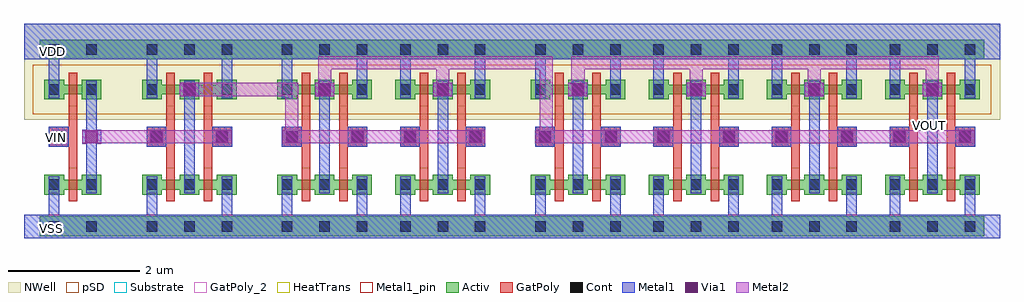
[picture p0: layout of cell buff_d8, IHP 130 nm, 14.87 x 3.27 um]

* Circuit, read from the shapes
.subckt buff_d8 VDD VIN VOUT VSS
XM1 inv_d2_1/VIN VIN VSS VSS sg13_lv_nmos w=0.15u l=0.13u
XM2 inv_d4_2/VIN inv_d2_1/VIN VSS VSS sg13_lv_nmos w=0.15u l=0.13u m=2
XM3 inv_d8_3/VIN inv_d4_2/VIN VSS VSS sg13_lv_nmos w=0.15u l=0.13u m=4
XM4 VOUT inv_d8_3/VIN VSS VSS sg13_lv_nmos w=0.15u l=0.13u m=8
XM5 inv_d2_1/VIN VIN VDD VDD sg13_lv_pmos w=0.15u l=0.13u
XM6 inv_d4_2/VIN inv_d2_1/VIN VDD VDD sg13_lv_pmos w=0.15u l=0.13u m=2
XM7 inv_d8_3/VIN inv_d4_2/VIN VDD VDD sg13_lv_pmos w=0.15u l=0.13u m=4
XM8 VOUT inv_d8_3/VIN VDD VDD sg13_lv_pmos w=0.15u l=0.13u m=8
.ends

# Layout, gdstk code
from math import pi, radians
import gdstk
lib = gdstk.Library(unit=1e-6, precision=5e-09)
def R(c, l, rs):  # rectangles x0, y0, x1, y1
    for r in rs: c.add(gdstk.rectangle(r[:2], r[2:], *l))
Activ = (1, 0)
GatPoly = (5, 0)
GatPoly_2 = (5, 2)
Cont = (6, 0)
Metal1 = (8, 0)
Metal1_pin = (8, 2)
Metal2 = (10, 0)
pSD = (14, 0)
Via1 = (19, 0)
NWell = (31, 0)
Substrate = (40, 0)
HeatTrans = (51, 0)

pmos_1_1_1_1_5 = lib.new_cell('pmos$1$1$1$1$5')
R(pmos_1_1_1_1_5, Activ, [(0,0,0.3,0.3), (0.57,0,0.87,0.3), (0,0.075,0.87,0.225)])
R(pmos_1_1_1_1_5, GatPoly, [(0.37,-0.105,0.5,0.405), (0.37,-0.105,0.5,0.405)])
R(pmos_1_1_1_1_5, Cont, [(0.07,0.07,0.23,0.23), (0.64,0.07,0.8,0.23)])
R(pmos_1_1_1_1_5, Metal1, [(0.07,0.02,0.23,0.28), (0.07,0.02,0.23,0.28), (0.64,0.02,0.8,0.28), (0.64,0.02,0.8,0.28)])
R(pmos_1_1_1_1_5, pSD, [(-0.18,-0.225,1.05,0.525)])
R(pmos_1_1_1_1_5, NWell, [(-0.31,-0.31,1.18,0.61)])
R(pmos_1_1_1_1_5, Substrate, [(0.57,0,0.87,0.3)])
R(pmos_1_1_1_1_5, HeatTrans, [(0.37,-0.105,0.5,0.405)])
pmos_1_1_1_1_5.add(gdstk.Label('pmos', (0.435,0.15), layer=63, texttype=0))
pmos_1_1_1_1_5.add(gdstk.Label('pmos', (0.435,0.15), layer=51, texttype=0))

nmos_1_9_1 = lib.new_cell('nmos$1$9$1')
R(nmos_1_9_1, Activ, [(0,0,0.3,0.3), (0.57,0,0.87,0.3), (0,0.075,0.87,0.225)])
R(nmos_1_9_1, GatPoly, [(0.37,-0.105,0.5,0.405)])
R(nmos_1_9_1, GatPoly_2, [(0.37,-0.105,0.5,0.405)])
R(nmos_1_9_1, Cont, [(0.07,0.07,0.23,0.23), (0.64,0.07,0.8,0.23)])
R(nmos_1_9_1, Metal1, [(0.07,0.02,0.23,0.28), (0.64,0.02,0.8,0.28)])
R(nmos_1_9_1, Metal1_pin, [(0.07,0.02,0.23,0.28), (0.64,0.02,0.8,0.28)])
R(nmos_1_9_1, HeatTrans, [(0.37,-0.105,0.5,0.405)])
nmos_1_9_1.add(gdstk.Label('nmos', (0.435,0.15), layer=63, texttype=0))
nmos_1_9_1.add(gdstk.Label('nmos', (0.435,0.15), layer=51, texttype=0))

inv_2 = lib.new_cell('inv$2')
R(inv_2, Activ, [(0.48,-0.04,1.49,0.26), (0.48,-0.04,1.49,0.26), (0.48,-0.04,1.49,0.26), (0.48,-0.04,1.49,0.26), (0.48,-0.04,1.49,0.26), (0.48,-0.04,1.49,0.26), (0.48,-0.04,1.49,0.26), (0.48,-0.04,1.49,0.26), (0.48,-0.04,1.49,0.26), (0.48,-0.04,1.49,0.26), (0.48,-0.04,1.49,0.26), (0.48,-0.04,1.49,0.26), (0.48,-0.04,1.49,0.26), (0.48,-0.04,1.49,0.26), (0.48,-0.04,1.49,0.26), (0.48,-0.04,1.49,0.26), (0.48,-0.04,1.49,0.26), (0.48,-0.04,1.49,0.26), (0.48,-0.04,1.49,0.26), (0.48,-0.04,1.49,0.26), (0.48,-0.04,1.49,0.26), (0.48,-0.04,1.49,0.26), (0.48,-0.04,1.49,0.26), (0.48,-0.04,1.49,0.26), (0.48,-0.04,1.49,0.26), (0.48,-0.04,1.49,0.26), (0.48,-0.04,1.49,0.26), (0.48,-0.04,1.49,0.26), (0.48,2.655,1.49,2.955), (0.48,2.655,1.49,2.955), (0.48,2.655,1.49,2.955), (0.48,2.655,1.49,2.955), (0.48,2.655,1.49,2.955), (0.48,2.655,1.49,2.955), (0.48,2.655,1.49,2.955), (0.48,2.655,1.49,2.955), (0.48,2.655,1.49,2.955), (0.48,2.655,1.49,2.955), (0.48,2.655,1.49,2.955), (0.48,2.655,1.49,2.955), (0.48,2.655,1.49,2.955), (0.48,2.655,1.49,2.955), (0.48,2.655,1.49,2.955), (0.48,2.655,1.49,2.955), (0.48,2.655,1.49,2.955), (0.48,2.655,1.49,2.955), (0.48,2.655,1.49,2.955), (0.48,2.655,1.49,2.955), (0.48,2.655,1.49,2.955), (0.48,2.655,1.49,2.955), (0.48,2.655,1.49,2.955), (0.48,2.655,1.49,2.955), (0.48,2.655,1.49,2.955), (0.48,2.655,1.49,2.955), (0.48,2.655,1.49,2.955), (0.48,2.655,1.49,2.955)])
R(inv_2, GatPoly, [(0.92,0.76,1.05,2.45), (0.92,0.76,1.05,2.45), (0.92,0.76,1.05,2.45), (0.92,0.76,1.05,2.45), (0.92,0.76,1.05,2.45), (0.92,0.76,1.05,2.45), (0.92,0.76,1.05,2.45), (0.92,0.76,1.05,2.45), (0.92,0.76,1.05,2.45), (0.92,0.76,1.05,2.45), (0.92,0.76,1.05,2.45), (0.92,0.76,1.05,2.45), (0.92,0.76,1.05,2.45), (0.92,0.76,1.05,2.45), (0.92,0.76,1.05,2.45), (0.92,0.76,1.05,2.45), (0.92,0.76,1.05,2.45), (0.92,0.76,1.05,2.45), (0.92,0.76,1.05,2.45), (0.92,0.76,1.05,2.45), (0.92,0.76,1.05,2.45), (0.92,0.76,1.05,2.45), (0.92,0.76,1.05,2.45), (0.92,0.76,1.05,2.45), (0.92,0.76,1.05,2.45), (0.92,0.76,1.05,2.45), (0.92,0.76,1.05,2.45), (0.92,0.76,1.05,2.45), (0.62,1.325,0.92,1.625), (0.62,1.325,0.92,1.625), (0.62,1.325,0.92,1.625), (0.62,1.325,0.92,1.625), (0.62,1.325,0.92,1.625), (0.62,1.325,0.92,1.625), (0.62,1.325,0.92,1.625), (0.62,1.325,0.92,1.625), (0.62,1.325,0.92,1.625), (0.62,1.325,0.92,1.625), (0.62,1.325,0.92,1.625), (0.62,1.325,0.92,1.625), (0.62,1.325,0.92,1.625), (0.62,1.325,0.92,1.625), (0.62,1.325,0.92,1.625), (0.62,1.325,0.92,1.625), (0.62,1.325,0.92,1.625), (0.62,1.325,0.92,1.625), (0.62,1.325,0.92,1.625), (0.62,1.325,0.92,1.625), (0.62,1.325,0.92,1.625), (0.62,1.325,0.92,1.625), (0.62,1.325,0.92,1.625), (0.62,1.325,0.92,1.625), (0.62,1.325,0.92,1.625), (0.62,1.325,0.92,1.625), (0.62,1.325,0.92,1.625), (0.62,1.325,0.92,1.625)])
R(inv_2, Cont, [(0.62,0.03,0.78,0.19), (0.62,0.03,0.78,0.19), (0.62,0.03,0.78,0.19), (0.62,0.03,0.78,0.19), (0.62,0.03,0.78,0.19), (0.62,0.03,0.78,0.19), (0.62,0.03,0.78,0.19), (0.62,0.03,0.78,0.19), (0.62,0.03,0.78,0.19), (0.62,0.03,0.78,0.19), (0.62,0.03,0.78,0.19), (0.62,0.03,0.78,0.19), (0.62,0.03,0.78,0.19), (0.62,0.03,0.78,0.19), (0.62,0.03,0.78,0.19), (0.62,0.03,0.78,0.19), (0.62,0.03,0.78,0.19), (0.62,0.03,0.78,0.19), (0.62,0.03,0.78,0.19), (0.62,0.03,0.78,0.19), (0.62,0.03,0.78,0.19), (0.62,0.03,0.78,0.19), (0.62,0.03,0.78,0.19), (0.62,0.03,0.78,0.19), (0.62,0.03,0.78,0.19), (0.62,0.03,0.78,0.19), (0.62,0.03,0.78,0.19), (0.62,0.03,0.78,0.19), (1.19,0.03,1.35,0.19), (1.19,0.03,1.35,0.19), (1.19,0.03,1.35,0.19), (1.19,0.03,1.35,0.19), (1.19,0.03,1.35,0.19), (1.19,0.03,1.35,0.19), (1.19,0.03,1.35,0.19), (1.19,0.03,1.35,0.19), (1.19,0.03,1.35,0.19), (1.19,0.03,1.35,0.19), (1.19,0.03,1.35,0.19), (1.19,0.03,1.35,0.19), (1.19,0.03,1.35,0.19), (1.19,0.03,1.35,0.19), (1.19,0.03,1.35,0.19), (1.19,0.03,1.35,0.19), (1.19,0.03,1.35,0.19), (1.19,0.03,1.35,0.19), (1.19,0.03,1.35,0.19), (1.19,0.03,1.35,0.19), (1.19,0.03,1.35,0.19), (1.19,0.03,1.35,0.19), (1.19,0.03,1.35,0.19), (1.19,0.03,1.35,0.19), (1.19,0.03,1.35,0.19), (1.19,0.03,1.35,0.19), (1.19,0.03,1.35,0.19), (1.19,0.03,1.35,0.19), (0.69,1.395,0.85,1.555), (0.69,1.395,0.85,1.555), (0.69,1.395,0.85,1.555), (0.69,1.395,0.85,1.555), (0.69,1.395,0.85,1.555), (0.69,1.395,0.85,1.555), (0.69,1.395,0.85,1.555), (0.69,1.395,0.85,1.555), (0.69,1.395,0.85,1.555), (0.69,1.395,0.85,1.555), (0.69,1.395,0.85,1.555), (0.69,1.395,0.85,1.555), (0.69,1.395,0.85,1.555), (0.69,1.395,0.85,1.555), (0.69,1.395,0.85,1.555), (0.69,1.395,0.85,1.555), (0.69,1.395,0.85,1.555), (0.69,1.395,0.85,1.555), (0.69,1.395,0.85,1.555), (0.69,1.395,0.85,1.555), (0.69,1.395,0.85,1.555), (0.69,1.395,0.85,1.555), (0.69,1.395,0.85,1.555), (0.69,1.395,0.85,1.555), (0.69,1.395,0.85,1.555), (0.69,1.395,0.85,1.555), (0.69,1.395,0.85,1.555), (0.69,1.395,0.85,1.555), (0.62,2.725,0.78,2.885), (0.62,2.725,0.78,2.885), (0.62,2.725,0.78,2.885), (0.62,2.725,0.78,2.885), (0.62,2.725,0.78,2.885), (0.62,2.725,0.78,2.885), (0.62,2.725,0.78,2.885), (0.62,2.725,0.78,2.885), (0.62,2.725,0.78,2.885), (0.62,2.725,0.78,2.885), (0.62,2.725,0.78,2.885), (0.62,2.725,0.78,2.885), (0.62,2.725,0.78,2.885), (0.62,2.725,0.78,2.885), (0.62,2.725,0.78,2.885), (0.62,2.725,0.78,2.885), (0.62,2.725,0.78,2.885), (0.62,2.725,0.78,2.885), (0.62,2.725,0.78,2.885), (0.62,2.725,0.78,2.885), (0.62,2.725,0.78,2.885), (0.62,2.725,0.78,2.885), (0.62,2.725,0.78,2.885), (0.62,2.725,0.78,2.885), (0.62,2.725,0.78,2.885), (0.62,2.725,0.78,2.885), (0.62,2.725,0.78,2.885), (0.62,2.725,0.78,2.885), (1.19,2.725,1.35,2.885), (1.19,2.725,1.35,2.885), (1.19,2.725,1.35,2.885), (1.19,2.725,1.35,2.885), (1.19,2.725,1.35,2.885), (1.19,2.725,1.35,2.885), (1.19,2.725,1.35,2.885), (1.19,2.725,1.35,2.885), (1.19,2.725,1.35,2.885), (1.19,2.725,1.35,2.885), (1.19,2.725,1.35,2.885), (1.19,2.725,1.35,2.885), (1.19,2.725,1.35,2.885), (1.19,2.725,1.35,2.885), (1.19,2.725,1.35,2.885), (1.19,2.725,1.35,2.885), (1.19,2.725,1.35,2.885), (1.19,2.725,1.35,2.885), (1.19,2.725,1.35,2.885), (1.19,2.725,1.35,2.885), (1.19,2.725,1.35,2.885), (1.19,2.725,1.35,2.885), (1.19,2.725,1.35,2.885), (1.19,2.725,1.35,2.885), (1.19,2.725,1.35,2.885), (1.19,2.725,1.35,2.885), (1.19,2.725,1.35,2.885), (1.19,2.725,1.35,2.885)])
R(inv_2, Metal1, [(0.24,-0.07,1.73,0.29), (0.24,-0.07,1.73,0.29), (0.24,-0.07,1.73,0.29), (0.24,-0.07,1.73,0.29), (0.24,-0.07,1.73,0.29), (0.24,-0.07,1.73,0.29), (0.24,-0.07,1.73,0.29), (0.24,-0.07,1.73,0.29), (0.24,-0.07,1.73,0.29), (0.24,-0.07,1.73,0.29), (0.24,-0.07,1.73,0.29), (0.24,-0.07,1.73,0.29), (0.24,-0.07,1.73,0.29), (0.24,-0.07,1.73,0.29), (0.24,-0.07,1.73,0.29), (0.24,-0.07,1.73,0.29), (0.24,-0.07,1.73,0.29), (0.24,-0.07,1.73,0.29), (0.24,-0.07,1.73,0.29), (0.24,-0.07,1.73,0.29), (0.24,-0.07,1.73,0.29), (0.24,-0.07,1.73,0.29), (0.24,-0.07,1.73,0.29), (0.24,-0.07,1.73,0.29), (0.24,-0.07,1.73,0.29), (0.24,-0.07,1.73,0.29), (0.24,-0.07,1.73,0.29), (0.24,-0.07,1.73,0.29), (0.62,-0.04,0.78,0.875), (0.62,-0.04,0.78,0.875), (0.62,-0.04,0.78,0.875), (0.62,-0.04,0.78,0.875), (0.62,-0.04,0.78,0.875), (0.62,-0.04,0.78,0.875), (0.62,-0.04,0.78,0.875), (0.62,-0.04,0.78,0.875), (0.62,-0.04,0.78,0.875), (0.62,-0.04,0.78,0.875), (0.62,-0.04,0.78,0.875), (0.62,-0.04,0.78,0.875), (0.62,-0.04,0.78,0.875), (0.62,-0.04,0.78,0.875), (0.62,-0.04,0.78,0.875), (0.62,-0.04,0.78,0.875), (0.62,-0.04,0.78,0.875), (0.62,-0.04,0.78,0.875), (0.62,-0.04,0.78,0.875), (0.62,-0.04,0.78,0.875), (0.62,-0.04,0.78,0.875), (0.62,-0.04,0.78,0.875), (0.62,-0.04,0.78,0.875), (0.62,-0.04,0.78,0.875), (0.62,-0.04,0.78,0.875), (0.62,-0.04,0.78,0.875), (0.62,-0.04,0.78,0.875), (0.62,-0.04,0.78,0.875), (1.19,0.615,1.35,2.325), (1.19,0.615,1.35,2.325), (1.19,0.615,1.35,2.325), (1.19,0.615,1.35,2.325), (1.19,0.615,1.35,2.325), (1.19,0.615,1.35,2.325), (1.19,0.615,1.35,2.325), (1.19,0.615,1.35,2.325), (1.19,0.615,1.35,2.325), (1.19,0.615,1.35,2.325), (1.19,0.615,1.35,2.325), (1.19,0.615,1.35,2.325), (1.19,0.615,1.35,2.325), (1.19,0.615,1.35,2.325), (1.19,0.615,1.35,2.325), (1.19,0.615,1.35,2.325), (1.19,0.615,1.35,2.325), (1.19,0.615,1.35,2.325), (1.19,0.615,1.35,2.325), (1.19,0.615,1.35,2.325), (1.19,0.615,1.35,2.325), (1.19,0.615,1.35,2.325), (1.19,0.615,1.35,2.325), (1.19,0.615,1.35,2.325), (1.19,0.615,1.35,2.325), (1.19,0.615,1.35,2.325), (1.19,0.615,1.35,2.325), (1.19,0.615,1.35,2.325), (0.62,1.325,0.92,1.625), (0.62,1.325,0.92,1.625), (0.62,1.325,0.92,1.625), (0.62,1.325,0.92,1.625), (0.62,1.325,0.92,1.625), (0.62,1.325,0.92,1.625), (0.62,1.325,0.92,1.625), (0.62,1.325,0.92,1.625), (0.62,1.325,0.92,1.625), (0.62,1.325,0.92,1.625), (0.62,1.325,0.92,1.625), (0.62,1.325,0.92,1.625), (0.62,1.325,0.92,1.625), (0.62,1.325,0.92,1.625), (0.62,1.325,0.92,1.625), (0.62,1.325,0.92,1.625), (0.62,1.325,0.92,1.625), (0.62,1.325,0.92,1.625), (0.62,1.325,0.92,1.625), (0.62,1.325,0.92,1.625), (0.62,1.325,0.92,1.625), (0.62,1.325,0.92,1.625), (0.62,1.325,0.92,1.625), (0.62,1.325,0.92,1.625), (0.62,1.325,0.92,1.625), (0.62,1.325,0.92,1.625), (0.62,1.325,0.92,1.625), (0.62,1.325,0.92,1.625), (0.62,2.065,0.78,2.955), (0.62,2.065,0.78,2.955), (0.62,2.065,0.78,2.955), (0.62,2.065,0.78,2.955), (0.62,2.065,0.78,2.955), (0.62,2.065,0.78,2.955), (0.62,2.065,0.78,2.955), (0.62,2.065,0.78,2.955), (0.62,2.065,0.78,2.955), (0.62,2.065,0.78,2.955), (0.62,2.065,0.78,2.955), (0.62,2.065,0.78,2.955), (0.62,2.065,0.78,2.955), (0.62,2.065,0.78,2.955), (0.62,2.065,0.78,2.955), (0.62,2.065,0.78,2.955), (0.62,2.065,0.78,2.955), (0.62,2.065,0.78,2.955), (0.62,2.065,0.78,2.955), (0.62,2.065,0.78,2.955), (0.62,2.065,0.78,2.955), (0.62,2.065,0.78,2.955), (0.62,2.065,0.78,2.955), (0.62,2.065,0.78,2.955), (0.62,2.065,0.78,2.955), (0.62,2.065,0.78,2.955), (0.62,2.065,0.78,2.955), (0.62,2.065,0.78,2.955), (0.24,2.655,1.73,3.195), (0.24,2.655,1.73,3.195), (0.24,2.655,1.73,3.195), (0.24,2.655,1.73,3.195), (0.24,2.655,1.73,3.195), (0.24,2.655,1.73,3.195), (0.24,2.655,1.73,3.195), (0.24,2.655,1.73,3.195), (0.24,2.655,1.73,3.195), (0.24,2.655,1.73,3.195), (0.24,2.655,1.73,3.195), (0.24,2.655,1.73,3.195), (0.24,2.655,1.73,3.195), (0.24,2.655,1.73,3.195), (0.24,2.655,1.73,3.195), (0.24,2.655,1.73,3.195), (0.24,2.655,1.73,3.195), (0.24,2.655,1.73,3.195), (0.24,2.655,1.73,3.195), (0.24,2.655,1.73,3.195), (0.24,2.655,1.73,3.195), (0.24,2.655,1.73,3.195), (0.24,2.655,1.73,3.195), (0.24,2.655,1.73,3.195), (0.24,2.655,1.73,3.195), (0.24,2.655,1.73,3.195), (0.24,2.655,1.73,3.195), (0.24,2.655,1.73,3.195)])
R(inv_2, Metal1_pin, [(0.24,-0.07,1.73,0.29), (0.24,-0.07,1.73,0.29), (0.24,-0.07,1.73,0.29), (0.24,-0.07,1.73,0.29), (0.24,-0.07,1.73,0.29), (0.24,-0.07,1.73,0.29), (0.24,-0.07,1.73,0.29), (0.24,-0.07,1.73,0.29), (0.24,-0.07,1.73,0.29), (0.24,-0.07,1.73,0.29), (0.24,-0.07,1.73,0.29), (0.24,-0.07,1.73,0.29), (0.24,-0.07,1.73,0.29), (0.24,-0.07,1.73,0.29), (0.24,-0.07,1.73,0.29), (0.24,-0.07,1.73,0.29), (0.24,-0.07,1.73,0.29), (0.24,-0.07,1.73,0.29), (0.24,-0.07,1.73,0.29), (0.24,-0.07,1.73,0.29), (0.24,-0.07,1.73,0.29), (0.24,-0.07,1.73,0.29), (0.24,-0.07,1.73,0.29), (0.24,-0.07,1.73,0.29), (0.24,-0.07,1.73,0.29), (0.24,-0.07,1.73,0.29), (0.24,-0.07,1.73,0.29), (0.24,-0.07,1.73,0.29), (1.19,0.615,1.35,2.325), (1.19,0.615,1.35,2.325), (1.19,0.615,1.35,2.325), (1.19,0.615,1.35,2.325), (1.19,0.615,1.35,2.325), (1.19,0.615,1.35,2.325), (1.19,0.615,1.35,2.325), (1.19,0.615,1.35,2.325), (1.19,0.615,1.35,2.325), (1.19,0.615,1.35,2.325), (1.19,0.615,1.35,2.325), (1.19,0.615,1.35,2.325), (1.19,0.615,1.35,2.325), (1.19,0.615,1.35,2.325), (1.19,0.615,1.35,2.325), (1.19,0.615,1.35,2.325), (1.19,0.615,1.35,2.325), (1.19,0.615,1.35,2.325), (1.19,0.615,1.35,2.325), (1.19,0.615,1.35,2.325), (1.19,0.615,1.35,2.325), (1.19,0.615,1.35,2.325), (1.19,0.615,1.35,2.325), (1.19,0.615,1.35,2.325), (1.19,0.615,1.35,2.325), (1.19,0.615,1.35,2.325), (1.19,0.615,1.35,2.325), (1.19,0.615,1.35,2.325), (0.62,1.325,0.92,1.625), (0.62,1.325,0.92,1.625), (0.62,1.325,0.92,1.625), (0.62,1.325,0.92,1.625), (0.62,1.325,0.92,1.625), (0.62,1.325,0.92,1.625), (0.62,1.325,0.92,1.625), (0.62,1.325,0.92,1.625), (0.62,1.325,0.92,1.625), (0.62,1.325,0.92,1.625), (0.62,1.325,0.92,1.625), (0.62,1.325,0.92,1.625), (0.62,1.325,0.92,1.625), (0.62,1.325,0.92,1.625), (0.62,1.325,0.92,1.625), (0.62,1.325,0.92,1.625), (0.62,1.325,0.92,1.625), (0.62,1.325,0.92,1.625), (0.62,1.325,0.92,1.625), (0.62,1.325,0.92,1.625), (0.62,1.325,0.92,1.625), (0.62,1.325,0.92,1.625), (0.62,1.325,0.92,1.625), (0.62,1.325,0.92,1.625), (0.62,1.325,0.92,1.625), (0.62,1.325,0.92,1.625), (0.62,1.325,0.92,1.625), (0.62,1.325,0.92,1.625), (0.24,2.655,1.73,3.195), (0.24,2.655,1.73,3.195), (0.24,2.655,1.73,3.195), (0.24,2.655,1.73,3.195), (0.24,2.655,1.73,3.195), (0.24,2.655,1.73,3.195), (0.24,2.655,1.73,3.195), (0.24,2.655,1.73,3.195), (0.24,2.655,1.73,3.195), (0.24,2.655,1.73,3.195), (0.24,2.655,1.73,3.195), (0.24,2.655,1.73,3.195), (0.24,2.655,1.73,3.195), (0.24,2.655,1.73,3.195), (0.24,2.655,1.73,3.195), (0.24,2.655,1.73,3.195), (0.24,2.655,1.73,3.195), (0.24,2.655,1.73,3.195), (0.24,2.655,1.73,3.195), (0.24,2.655,1.73,3.195), (0.24,2.655,1.73,3.195), (0.24,2.655,1.73,3.195), (0.24,2.655,1.73,3.195), (0.24,2.655,1.73,3.195), (0.24,2.655,1.73,3.195), (0.24,2.655,1.73,3.195), (0.24,2.655,1.73,3.195), (0.24,2.655,1.73,3.195)])
R(inv_2, pSD, [(0.24,-0.07,1.73,0.29), (0.24,-0.07,1.73,0.29), (0.24,-0.07,1.73,0.29), (0.24,-0.07,1.73,0.29), (0.24,-0.07,1.73,0.29), (0.24,-0.07,1.73,0.29), (0.24,-0.07,1.73,0.29), (0.24,-0.07,1.73,0.29), (0.24,-0.07,1.73,0.29), (0.24,-0.07,1.73,0.29), (0.24,-0.07,1.73,0.29), (0.24,-0.07,1.73,0.29), (0.24,-0.07,1.73,0.29), (0.24,-0.07,1.73,0.29), (0.24,-0.07,1.73,0.29), (0.24,-0.07,1.73,0.29), (0.24,-0.07,1.73,0.29), (0.24,-0.07,1.73,0.29), (0.24,-0.07,1.73,0.29), (0.24,-0.07,1.73,0.29), (0.24,-0.07,1.73,0.29), (0.24,-0.07,1.73,0.29), (0.24,-0.07,1.73,0.29), (0.24,-0.07,1.73,0.29), (0.24,-0.07,1.73,0.29), (0.24,-0.07,1.73,0.29), (0.24,-0.07,1.73,0.29), (0.24,-0.07,1.73,0.29)])
R(inv_2, NWell, [(0.24,2.655,1.73,3.195), (0.24,2.655,1.73,3.195), (0.24,2.655,1.73,3.195), (0.24,2.655,1.73,3.195), (0.24,2.655,1.73,3.195), (0.24,2.655,1.73,3.195), (0.24,2.655,1.73,3.195), (0.24,2.655,1.73,3.195), (0.24,2.655,1.73,3.195), (0.24,2.655,1.73,3.195), (0.24,2.655,1.73,3.195), (0.24,2.655,1.73,3.195), (0.24,2.655,1.73,3.195), (0.24,2.655,1.73,3.195), (0.24,2.655,1.73,3.195), (0.24,2.655,1.73,3.195), (0.24,2.655,1.73,3.195), (0.24,2.655,1.73,3.195), (0.24,2.655,1.73,3.195), (0.24,2.655,1.73,3.195), (0.24,2.655,1.73,3.195), (0.24,2.655,1.73,3.195), (0.24,2.655,1.73,3.195), (0.24,2.655,1.73,3.195), (0.24,2.655,1.73,3.195), (0.24,2.655,1.73,3.195), (0.24,2.655,1.73,3.195), (0.24,2.655,1.73,3.195)])
inv_2.add(gdstk.Reference(pmos_1_1_1_1_5, (0.55,2.045)))
inv_2.add(gdstk.Reference(nmos_1_9_1, (0.55,0.595)))
inv_2.add(gdstk.Label('VDD', (0.675,2.805), layer=8, texttype=25))
inv_2.add(gdstk.Label('VIN', (0.73,1.475), layer=8, texttype=25))
inv_2.add(gdstk.Label('VOUT', (1.2,1.665), layer=8, texttype=25))
inv_2.add(gdstk.Label('VDD', (0.675,2.805), layer=8, texttype=25))
inv_2.add(gdstk.Label('VIN', (0.73,1.475), layer=8, texttype=25))
inv_2.add(gdstk.Label('VOUT', (1.2,1.665), layer=8, texttype=25))
inv_2.add(gdstk.Label('VDD', (0.675,2.805), layer=8, texttype=25))
inv_2.add(gdstk.Label('VIN', (0.73,1.475), layer=8, texttype=25))
inv_2.add(gdstk.Label('VOUT', (1.2,1.665), layer=8, texttype=25))
inv_2.add(gdstk.Label('VDD', (0.675,2.805), layer=8, texttype=25))
inv_2.add(gdstk.Label('VIN', (0.73,1.475), layer=8, texttype=25))
inv_2.add(gdstk.Label('VOUT', (1.2,1.665), layer=8, texttype=25))
inv_2.add(gdstk.Label('VDD', (0.675,2.805), layer=8, texttype=25))
inv_2.add(gdstk.Label('VIN', (0.73,1.475), layer=8, texttype=25))
inv_2.add(gdstk.Label('VOUT', (1.2,1.665), layer=8, texttype=25))
inv_2.add(gdstk.Label('VDD', (0.675,2.805), layer=8, texttype=25))
inv_2.add(gdstk.Label('VIN', (0.73,1.475), layer=8, texttype=25))
inv_2.add(gdstk.Label('VOUT', (1.2,1.665), layer=8, texttype=25))
inv_2.add(gdstk.Label('VDD', (0.675,2.805), layer=8, texttype=25))
inv_2.add(gdstk.Label('VIN', (0.73,1.475), layer=8, texttype=25))
inv_2.add(gdstk.Label('VOUT', (1.2,1.665), layer=8, texttype=25))
inv_2.add(gdstk.Label('VDD', (0.675,2.805), layer=8, texttype=25))
inv_2.add(gdstk.Label('VIN', (0.73,1.475), layer=8, texttype=25))
inv_2.add(gdstk.Label('VOUT', (1.2,1.665), layer=8, texttype=25))
inv_2.add(gdstk.Label('VDD', (0.675,2.805), layer=8, texttype=25))
inv_2.add(gdstk.Label('VIN', (0.73,1.475), layer=8, texttype=25))
inv_2.add(gdstk.Label('VOUT', (1.2,1.665), layer=8, texttype=25))
inv_2.add(gdstk.Label('VDD', (0.675,2.805), layer=8, texttype=25))
inv_2.add(gdstk.Label('VIN', (0.73,1.475), layer=8, texttype=25))
inv_2.add(gdstk.Label('VOUT', (1.2,1.665), layer=8, texttype=25))
inv_2.add(gdstk.Label('VDD', (0.675,2.805), layer=8, texttype=25))
inv_2.add(gdstk.Label('VIN', (0.73,1.475), layer=8, texttype=25))
inv_2.add(gdstk.Label('VOUT', (1.2,1.665), layer=8, texttype=25))
inv_2.add(gdstk.Label('VDD', (0.675,2.805), layer=8, texttype=25))
inv_2.add(gdstk.Label('VIN', (0.73,1.475), layer=8, texttype=25))
inv_2.add(gdstk.Label('VOUT', (1.2,1.665), layer=8, texttype=25))
inv_2.add(gdstk.Label('VDD', (0.675,2.805), layer=8, texttype=25))
inv_2.add(gdstk.Label('VIN', (0.73,1.475), layer=8, texttype=25))
inv_2.add(gdstk.Label('VOUT', (1.2,1.665), layer=8, texttype=25))
inv_2.add(gdstk.Label('VDD', (0.675,2.805), layer=8, texttype=25))
inv_2.add(gdstk.Label('VIN', (0.73,1.475), layer=8, texttype=25))
inv_2.add(gdstk.Label('VOUT', (1.2,1.665), layer=8, texttype=25))
inv_2.add(gdstk.Label('VDD', (0.675,2.805), layer=8, texttype=25))
inv_2.add(gdstk.Label('VIN', (0.73,1.475), layer=8, texttype=25))
inv_2.add(gdstk.Label('VOUT', (1.2,1.665), layer=8, texttype=25))
inv_2.add(gdstk.Label('VDD', (0.675,2.805), layer=8, texttype=25))
inv_2.add(gdstk.Label('VIN', (0.73,1.475), layer=8, texttype=25))
inv_2.add(gdstk.Label('VOUT', (1.2,1.665), layer=8, texttype=25))
inv_2.add(gdstk.Label('VDD', (0.675,2.805), layer=8, texttype=25))
inv_2.add(gdstk.Label('VIN', (0.73,1.475), layer=8, texttype=25))
inv_2.add(gdstk.Label('VOUT', (1.2,1.665), layer=8, texttype=25))
inv_2.add(gdstk.Label('VDD', (0.675,2.805), layer=8, texttype=25))
inv_2.add(gdstk.Label('VIN', (0.73,1.475), layer=8, texttype=25))
inv_2.add(gdstk.Label('VOUT', (1.2,1.665), layer=8, texttype=25))
inv_2.add(gdstk.Label('VDD', (0.675,2.805), layer=8, texttype=25))
inv_2.add(gdstk.Label('VIN', (0.73,1.475), layer=8, texttype=25))
inv_2.add(gdstk.Label('VOUT', (1.2,1.665), layer=8, texttype=25))
inv_2.add(gdstk.Label('VDD', (0.675,2.805), layer=8, texttype=25))
inv_2.add(gdstk.Label('VIN', (0.73,1.475), layer=8, texttype=25))
inv_2.add(gdstk.Label('VOUT', (1.2,1.665), layer=8, texttype=25))
inv_2.add(gdstk.Label('VDD', (0.675,2.805), layer=8, texttype=25))
inv_2.add(gdstk.Label('VIN', (0.73,1.475), layer=8, texttype=25))
inv_2.add(gdstk.Label('VOUT', (1.2,1.665), layer=8, texttype=25))
inv_2.add(gdstk.Label('VDD', (0.675,2.805), layer=8, texttype=25))
inv_2.add(gdstk.Label('VIN', (0.73,1.475), layer=8, texttype=25))
inv_2.add(gdstk.Label('VOUT', (1.2,1.665), layer=8, texttype=25))
inv_2.add(gdstk.Label('VDD', (0.675,2.805), layer=8, texttype=25))
inv_2.add(gdstk.Label('VIN', (0.73,1.475), layer=8, texttype=25))
inv_2.add(gdstk.Label('VOUT', (1.2,1.665), layer=8, texttype=25))
inv_2.add(gdstk.Label('VDD', (0.675,2.805), layer=8, texttype=25))
inv_2.add(gdstk.Label('VIN', (0.73,1.475), layer=8, texttype=25))
inv_2.add(gdstk.Label('VOUT', (1.2,1.665), layer=8, texttype=25))
inv_2.add(gdstk.Label('VDD', (0.675,2.805), layer=8, texttype=25))
inv_2.add(gdstk.Label('VIN', (0.73,1.475), layer=8, texttype=25))
inv_2.add(gdstk.Label('VOUT', (1.2,1.665), layer=8, texttype=25))
inv_2.add(gdstk.Label('VDD', (0.675,2.805), layer=8, texttype=25))
inv_2.add(gdstk.Label('VIN', (0.73,1.475), layer=8, texttype=25))
inv_2.add(gdstk.Label('VOUT', (1.2,1.665), layer=8, texttype=25))
inv_2.add(gdstk.Label('VDD', (0.675,2.805), layer=8, texttype=25))
inv_2.add(gdstk.Label('VIN', (0.73,1.475), layer=8, texttype=25))
inv_2.add(gdstk.Label('VOUT', (1.2,1.665), layer=8, texttype=25))
inv_2.add(gdstk.Label('VDD', (0.675,2.805), layer=8, texttype=25))
inv_2.add(gdstk.Label('VIN', (0.73,1.475), layer=8, texttype=25))
inv_2.add(gdstk.Label('VOUT', (1.2,1.665), layer=8, texttype=25))
inv_2.add(gdstk.Label('VSS', (0.64,0.09), layer=8, texttype=25))
inv_2.add(gdstk.Label('VSS', (0.64,0.09), layer=8, texttype=25))
inv_2.add(gdstk.Label('VSS', (0.64,0.09), layer=8, texttype=25))
inv_2.add(gdstk.Label('VSS', (0.64,0.09), layer=8, texttype=25))
inv_2.add(gdstk.Label('VSS', (0.64,0.09), layer=8, texttype=25))
inv_2.add(gdstk.Label('VSS', (0.64,0.09), layer=8, texttype=25))
inv_2.add(gdstk.Label('VSS', (0.64,0.09), layer=8, texttype=25))
inv_2.add(gdstk.Label('VSS', (0.64,0.09), layer=8, texttype=25))
inv_2.add(gdstk.Label('VSS', (0.64,0.09), layer=8, texttype=25))
inv_2.add(gdstk.Label('VSS', (0.64,0.09), layer=8, texttype=25))
inv_2.add(gdstk.Label('VSS', (0.64,0.09), layer=8, texttype=25))
inv_2.add(gdstk.Label('VSS', (0.64,0.09), layer=8, texttype=25))
inv_2.add(gdstk.Label('VSS', (0.64,0.09), layer=8, texttype=25))
inv_2.add(gdstk.Label('VSS', (0.64,0.09), layer=8, texttype=25))
inv_2.add(gdstk.Label('VSS', (0.64,0.09), layer=8, texttype=25))
inv_2.add(gdstk.Label('VSS', (0.64,0.09), layer=8, texttype=25))
inv_2.add(gdstk.Label('VSS', (0.64,0.09), layer=8, texttype=25))
inv_2.add(gdstk.Label('VSS', (0.64,0.09), layer=8, texttype=25))
inv_2.add(gdstk.Label('VSS', (0.64,0.09), layer=8, texttype=25))
inv_2.add(gdstk.Label('VSS', (0.64,0.09), layer=8, texttype=25))
inv_2.add(gdstk.Label('VSS', (0.64,0.09), layer=8, texttype=25))
inv_2.add(gdstk.Label('VSS', (0.64,0.09), layer=8, texttype=25))
inv_2.add(gdstk.Label('VSS', (0.64,0.09), layer=8, texttype=25))
inv_2.add(gdstk.Label('VSS', (0.64,0.09), layer=8, texttype=25))
inv_2.add(gdstk.Label('VSS', (0.64,0.09), layer=8, texttype=25))
inv_2.add(gdstk.Label('VSS', (0.64,0.09), layer=8, texttype=25))
inv_2.add(gdstk.Label('VSS', (0.64,0.09), layer=8, texttype=25))
inv_2.add(gdstk.Label('VSS', (0.64,0.09), layer=8, texttype=25))

inv_d2 = lib.new_cell('inv_d2')
R(inv_d2, Metal1, [(0.625,1.705,0.915,1.915), (0.625,1.705,0.915,1.915), (0.625,1.705,0.915,1.915), (0.625,1.705,0.915,1.915), (0.625,1.705,0.915,1.915), (0.625,1.705,0.915,1.915), (1.625,1.705,1.915,1.915), (1.625,1.705,1.915,1.915), (1.625,1.705,1.915,1.915), (1.625,1.705,1.915,1.915), (1.625,1.705,1.915,1.915), (1.625,1.705,1.915,1.915)])
R(inv_d2, Metal1_pin, [(1.19,0.95,1.35,2.66), (1.19,0.95,1.35,2.66), (1.19,0.95,1.35,2.66), (1.19,0.95,1.35,2.66), (1.19,0.95,1.35,2.66), (1.19,0.95,1.35,2.66), (0.24,2.99,2.3,3.53), (0.24,2.99,2.3,3.53), (0.24,2.99,2.3,3.53), (0.24,2.99,2.3,3.53), (0.24,2.99,2.3,3.53), (0.24,2.99,2.3,3.53)])
R(inv_d2, Metal2, [(0.625,1.71,0.915,1.91), (0.625,1.71,0.915,1.91), (0.625,1.71,0.915,1.91), (0.625,1.71,0.915,1.91), (0.625,1.71,0.915,1.91), (0.625,1.71,0.915,1.91), (0.625,1.71,1.915,1.91), (0.625,1.71,1.915,1.91), (0.625,1.71,1.915,1.91), (0.625,1.71,1.915,1.91), (0.625,1.71,1.915,1.91), (0.625,1.71,1.915,1.91), (1.625,1.71,1.915,1.91), (1.625,1.71,1.915,1.91), (1.625,1.71,1.915,1.91), (1.625,1.71,1.915,1.91), (1.625,1.71,1.915,1.91), (1.625,1.71,1.915,1.91)])
R(inv_d2, Via1, [(0.675,1.715,0.865,1.905), (0.675,1.715,0.865,1.905), (0.675,1.715,0.865,1.905), (0.675,1.715,0.865,1.905), (0.675,1.715,0.865,1.905), (0.675,1.715,0.865,1.905), (1.675,1.715,1.865,1.905), (1.675,1.715,1.865,1.905), (1.675,1.715,1.865,1.905), (1.675,1.715,1.865,1.905), (1.675,1.715,1.865,1.905), (1.675,1.715,1.865,1.905)])
inv_d2.add(gdstk.Reference(inv_2, (0,0.335)))
inv_d2.add(gdstk.Reference(inv_2, (2.54,0.335), rotation=pi, x_reflection=True))
inv_d2.add(gdstk.Label('VDD', (1.27,3.14), layer=8, texttype=25))
inv_d2.add(gdstk.Label('VOUT', (1.26,1.49), layer=8, texttype=25))
inv_d2.add(gdstk.Label('VIN', (0.74,1.8), layer=8, texttype=25))
inv_d2.add(gdstk.Label('VSS', (1.27,0.445), layer=8, texttype=25))
inv_d2.add(gdstk.Label('VDD', (1.27,3.14), layer=8, texttype=25))
inv_d2.add(gdstk.Label('VOUT', (1.26,1.49), layer=8, texttype=25))
inv_d2.add(gdstk.Label('VIN', (0.74,1.8), layer=8, texttype=25))
inv_d2.add(gdstk.Label('VSS', (1.27,0.445), layer=8, texttype=25))
inv_d2.add(gdstk.Label('VDD', (1.27,3.14), layer=8, texttype=25))
inv_d2.add(gdstk.Label('VOUT', (1.26,1.49), layer=8, texttype=25))
inv_d2.add(gdstk.Label('VIN', (0.74,1.8), layer=8, texttype=25))
inv_d2.add(gdstk.Label('VSS', (1.27,0.445), layer=8, texttype=25))
inv_d2.add(gdstk.Label('VDD', (1.27,3.14), layer=8, texttype=25))
inv_d2.add(gdstk.Label('VOUT', (1.26,1.49), layer=8, texttype=25))
inv_d2.add(gdstk.Label('VIN', (0.74,1.8), layer=8, texttype=25))
inv_d2.add(gdstk.Label('VSS', (1.27,0.445), layer=8, texttype=25))
inv_d2.add(gdstk.Label('VDD', (1.27,3.14), layer=8, texttype=25))
inv_d2.add(gdstk.Label('VOUT', (1.26,1.49), layer=8, texttype=25))
inv_d2.add(gdstk.Label('VIN', (0.74,1.8), layer=8, texttype=25))
inv_d2.add(gdstk.Label('VSS', (1.27,0.445), layer=8, texttype=25))
inv_d2.add(gdstk.Label('VDD', (1.27,3.14), layer=8, texttype=25))
inv_d2.add(gdstk.Label('VOUT', (1.26,1.49), layer=8, texttype=25))
inv_d2.add(gdstk.Label('VIN', (0.74,1.8), layer=8, texttype=25))
inv_d2.add(gdstk.Label('VSS', (1.27,0.445), layer=8, texttype=25))

inv_d4 = lib.new_cell('inv_d4')
R(inv_d4, Activ, [(7.06,0.295,7.28,0.595), (7.06,0.295,7.28,0.595), (7.06,0.295,7.28,0.595), (7.06,0.295,7.28,0.595), (7.06,2.99,7.28,3.29), (7.06,2.99,7.28,3.29), (7.06,2.99,7.28,3.29), (7.06,2.99,7.28,3.29)])
R(inv_d4, Metal1, [(6.125,2.425,6.415,2.635), (6.125,2.425,6.415,2.635), (6.125,2.425,6.415,2.635), (6.125,2.425,6.415,2.635), (7.925,2.425,8.215,2.635), (7.925,2.425,8.215,2.635), (7.925,2.425,8.215,2.635), (7.925,2.425,8.215,2.635)])
R(inv_d4, Metal1_pin, [(5.24,0.265,9.1,0.625), (5.24,0.265,9.1,0.625), (5.24,0.265,9.1,0.625), (5.24,0.265,9.1,0.625), (6.19,0.95,6.35,2.66), (6.19,0.95,6.35,2.66), (6.19,0.95,6.35,2.66), (6.19,0.95,6.35,2.66), (7.99,0.95,8.15,2.66), (7.99,0.95,8.15,2.66), (7.99,0.95,8.15,2.66), (7.99,0.95,8.15,2.66), (5.24,2.99,9.1,3.53), (5.24,2.99,9.1,3.53), (5.24,2.99,9.1,3.53), (5.24,2.99,9.1,3.53)])
R(inv_d4, Metal2, [(6.67,1.71,7.67,1.91), (6.67,1.71,7.67,1.91), (6.67,1.71,7.67,1.91), (6.67,1.71,7.67,1.91), (6.125,2.43,6.415,2.63), (6.125,2.43,6.415,2.63), (6.125,2.43,6.415,2.63), (6.125,2.43,6.415,2.63), (7.925,2.43,8.215,2.63), (7.925,2.43,8.215,2.63), (7.925,2.43,8.215,2.63), (7.925,2.43,8.215,2.63), (6.17,2.435,6.37,3.04), (6.17,2.435,6.37,3.04), (6.17,2.435,6.37,3.04), (6.17,2.435,6.37,3.04), (7.97,2.435,8.17,3.04), (7.97,2.435,8.17,3.04), (7.97,2.435,8.17,3.04), (7.97,2.435,8.17,3.04), (6.17,2.84,8.17,3.04), (6.17,2.84,8.17,3.04), (6.17,2.84,8.17,3.04), (6.17,2.84,8.17,3.04)])
R(inv_d4, Via1, [(6.175,2.435,6.365,2.625), (6.175,2.435,6.365,2.625), (6.175,2.435,6.365,2.625), (6.175,2.435,6.365,2.625), (7.975,2.435,8.165,2.625), (7.975,2.435,8.165,2.625), (7.975,2.435,8.165,2.625), (7.975,2.435,8.165,2.625)])
inv_d4.add(gdstk.Reference(inv_d2, (5,0)))
inv_d4.add(gdstk.Reference(inv_d2, (6.8,0)))
inv_d4.add(gdstk.Label('VOUT', (6.245,1.985), layer=8, texttype=25))
inv_d4.add(gdstk.Label('VDD', (6.235,3.12), layer=8, texttype=25))
inv_d4.add(gdstk.Label('VSS', (6.215,0.425), layer=8, texttype=25))
inv_d4.add(gdstk.Label('VIN', (5.735,1.765), layer=8, texttype=25))
inv_d4.add(gdstk.Label('VOUT', (6.245,1.985), layer=8, texttype=25))
inv_d4.add(gdstk.Label('VDD', (6.235,3.12), layer=8, texttype=25))
inv_d4.add(gdstk.Label('VSS', (6.215,0.425), layer=8, texttype=25))
inv_d4.add(gdstk.Label('VIN', (5.735,1.765), layer=8, texttype=25))
inv_d4.add(gdstk.Label('VOUT', (6.245,1.985), layer=8, texttype=25))
inv_d4.add(gdstk.Label('VDD', (6.235,3.12), layer=8, texttype=25))
inv_d4.add(gdstk.Label('VSS', (6.215,0.425), layer=8, texttype=25))
inv_d4.add(gdstk.Label('VIN', (5.735,1.765), layer=8, texttype=25))
inv_d4.add(gdstk.Label('VOUT', (6.245,1.985), layer=8, texttype=25))
inv_d4.add(gdstk.Label('VDD', (6.235,3.12), layer=8, texttype=25))
inv_d4.add(gdstk.Label('VSS', (6.215,0.425), layer=8, texttype=25))
inv_d4.add(gdstk.Label('VIN', (5.735,1.765), layer=8, texttype=25))

inv_d8 = lib.new_cell('inv_d8')
R(inv_d8, Metal1_pin, [(5.24,0.265,12.7,0.625), (5.24,0.265,12.7,0.625), (5.24,2.99,12.7,3.53), (5.24,2.99,12.7,3.53)])
R(inv_d8, Metal2, [(8.475,1.71,9.515,1.91), (8.475,1.71,9.515,1.91), (7.97,2.84,9.97,3.04), (7.97,2.84,9.97,3.04)])
inv_d8.add(gdstk.Reference(inv_d4, (0,0)))
inv_d8.add(gdstk.Reference(inv_d4, (3.6,0)))
inv_d8.add(gdstk.Label('VDD', (8.355,3.26), layer=8, texttype=25))
inv_d8.add(gdstk.Label('VSS', (8.97,0.445), layer=8, texttype=25))
inv_d8.add(gdstk.Label('VIN', (5.77,1.81), layer=8, texttype=25))
inv_d8.add(gdstk.Label('VOUT', (11.67,1.805), layer=8, texttype=25))
inv_d8.add(gdstk.Label('VDD', (8.355,3.26), layer=8, texttype=25))
inv_d8.add(gdstk.Label('VSS', (8.97,0.445), layer=8, texttype=25))
inv_d8.add(gdstk.Label('VIN', (5.77,1.81), layer=8, texttype=25))
inv_d8.add(gdstk.Label('VOUT', (11.67,1.805), layer=8, texttype=25))
inv_d8.add(gdstk.Label('VOUT', (8.9,2.905), layer=10, texttype=25))
inv_d8.add(gdstk.Label('VOUT', (8.9,2.905), layer=10, texttype=25))

buff_d8 = lib.new_cell('buff_d8')
R(buff_d8, Activ, [(6.49,0.295,6.97,0.595), (8.55,0.295,9.03,0.595), (12.41,0.295,12.89,0.595), (16.27,0.295,16.49,0.595), (6.49,2.99,6.97,3.29), (8.55,2.99,9.03,3.29), (12.41,2.99,12.895,3.29), (16.27,2.99,16.495,3.29)])
R(buff_d8, Metal1, [(6.125,1.705,6.415,1.915), (7.115,1.705,7.405,1.915), (9.175,1.705,9.465,1.915), (13.035,1.705,13.325,1.915), (7.615,2.425,7.905,2.635)])
R(buff_d8, Metal1_pin, [(5.24,0.265,20.11,0.625), (19,0.95,19.16,2.66), (5.62,1.66,5.92,1.96), (5.24,2.99,20.11,3.53)])
R(buff_d8, Metal2, [(6.125,1.71,6.415,1.91), (6.125,1.71,7.4,1.91), (7.115,1.71,7.405,1.91), (9.175,1.71,9.465,1.91), (9.22,1.71,9.42,2.63), (13.035,1.71,13.325,1.91), (13.095,1.715,13.295,3.04), (7.615,2.43,7.905,2.63), (7.615,2.43,9.42,2.63), (11.52,2.84,13.295,3.04)])
R(buff_d8, pSD, [(6.6,2.155,6.86,2.905), (8.66,2.155,8.92,2.905), (12.52,2.155,12.78,2.905)])
R(buff_d8, Via1, [(6.175,1.715,6.365,1.905), (7.165,1.715,7.355,1.905), (9.225,1.715,9.415,1.905), (13.085,1.715,13.275,1.905), (7.665,2.435,7.855,2.625)])
buff_d8.add(gdstk.Reference(inv_2, (5,0.335)))
buff_d8.add(gdstk.Reference(inv_d2, (6.49,0)))
buff_d8.add(gdstk.Reference(inv_d4, (3.55,0)))
buff_d8.add(gdstk.Reference(inv_d8, (7.41,0)))
buff_d8.add(gdstk.Label('VDD', (5.68,3.115), layer=8, texttype=25))
buff_d8.add(gdstk.Label('VSS', (5.665,0.415), layer=8, texttype=25))
buff_d8.add(gdstk.Label('VIN', (5.73,1.795), layer=8, texttype=25))
buff_d8.add(gdstk.Label('VOUT', (19.03,1.98), layer=8, texttype=25))

lib.write_gds('buff_d8.gds')
